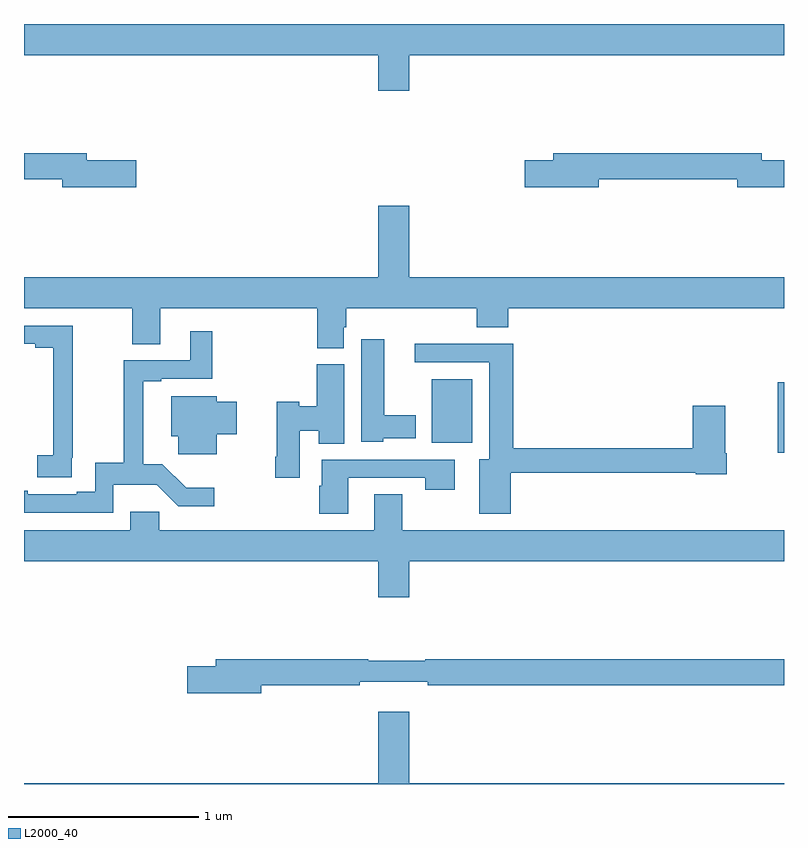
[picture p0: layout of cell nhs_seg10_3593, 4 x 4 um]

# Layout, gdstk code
import gdstk
lib = gdstk.Library(unit=1e-6, precision=1e-09)
def R(c, l, rs):  # rectangles x0, y0, x1, y1
    for r in rs: c.add(gdstk.rectangle(r[:2], r[2:], *l))
def P(c, l, *ps):  # polygons
    for p in ps: c.add(gdstk.Polygon(p, *l))
L2000_40 = (2000, 40)

nhs_seg10_3593 = lib.new_cell('nhs_seg10_3593')
R(nhs_seg10_3593, L2000_40, [(310.967,1278.243,311,1278.614), (309.146,1278.296,309.358,1278.631)])
P(nhs_seg10_3593, L2000_40, [(309.028,1280.336),(311,1280.336),(311,1280.5),(307,1280.5),(307,1280.336),(308.864,1280.336),(308.864,1280.148),(309.028,1280.148)],
  [(307.591,1279.784),(307.33,1279.784),(307.33,1279.82),(307,1279.82),(307,1279.684),(307.202,1279.684),(307.202,1279.642),(307.591,1279.642)],
  [(310.024,1279.684),(310.754,1279.684),(310.754,1279.642),(311,1279.642),(311,1279.784),(310.882,1279.784),(310.882,1279.82),(309.785,1279.82),(309.785,1279.784),(309.636,1279.784),(309.636,1279.642),(310.024,1279.642)],
  [(308.683,1278.903),(308.696,1278.903),(308.696,1279.004),(309.383,1279.004),(309.383,1278.905),(309.548,1278.905),(309.548,1279.004),(311,1279.004),(311,1279.168),(309.028,1279.168),(309.028,1279.543),(308.864,1279.543),(308.864,1279.168),(307,1279.168),(307,1279.004),(307.57,1279.004),(307.57,1278.814),(307.717,1278.814),(307.717,1279.004),(308.543,1279.004),(308.543,1278.793),(308.683,1278.793)],
  [(307.25,1278.217),(307.256,1278.217),(307.256,1278.912),(307,1278.912),(307,1278.816),(307.058,1278.816),(307.058,1278.796),(307.154,1278.796),(307.154,1278.513),(307.153,1278.513),(307.153,1278.23),(307.071,1278.23),(307.071,1278.115),(307.25,1278.115)],
  [(307.47,1278.074),(307.699,1278.074),(307.812,1277.961),(308.002,1277.961),(308.002,1278.058),(307.853,1278.058),(307.727,1278.184),(307.627,1278.184),(307.627,1278.621),(307.723,1278.621),(307.723,1278.633),(307.991,1278.633),(307.991,1278.883),(307.874,1278.883),(307.874,1278.729),(307.525,1278.729),(307.525,1278.191),(307.374,1278.191),(307.374,1278.038),(307.277,1278.038),(307.277,1278.024),(307.021,1278.024),(307.021,1278.044),(307,1278.044),(307,1277.928),(307.47,1277.928)],
  [(308.892,1278.32),(309.061,1278.32),(309.061,1278.442),(308.896,1278.442),(308.896,1278.841),(308.774,1278.841),(308.774,1278.302),(308.892,1278.302)],
  [(309.562,1278.138),(310.536,1278.138),(310.536,1278.13),(310.698,1278.13),(310.698,1278.241),(310.69,1278.241),(310.69,1278.49),(310.52,1278.49),(310.52,1278.266),(309.575,1278.266),(309.575,1278.818),(309.057,1278.818),(309.057,1278.72),(309.449,1278.72),(309.449,1278.208),(309.395,1278.208),(309.395,1277.922),(309.562,1277.922)],
  [(308.452,1278.359),(308.552,1278.359),(308.552,1278.292),(308.686,1278.292),(308.686,1278.708),(308.54,1278.708),(308.54,1278.489),(308.448,1278.489),(308.448,1278.512),(308.33,1278.512),(308.33,1278.223),(308.323,1278.223),(308.323,1278.111),(308.452,1278.111)],
  [(308.014,1278.341),(308.119,1278.341),(308.119,1278.512),(308.014,1278.512),(308.014,1278.541),(307.775,1278.541),(307.775,1278.329),(307.811,1278.329),(307.811,1278.236),(308.014,1278.236)],
  [(308.707,1278.111),(309.112,1278.111),(309.112,1278.048),(309.268,1278.048),(309.268,1278.207),(308.567,1278.207),(308.567,1278.069),(308.555,1278.069),(308.555,1277.922),(308.707,1277.922)],
  [(309.028,1277.672),(311,1277.672),(311,1277.836),(308.991,1277.836),(308.991,1278.026),(308.843,1278.026),(308.843,1277.836),(307.711,1277.836),(307.711,1277.934),(307.559,1277.934),(307.559,1277.836),(307,1277.836),(307,1277.672),(308.864,1277.672),(308.864,1277.484),(309.028,1277.484)],
  [(308.248,1277.02),(308.768,1277.02),(308.768,1277.039),(309.124,1277.039),(309.124,1277.02),(311,1277.02),(311,1277.156),(309.113,1277.156),(309.113,1277.149),(308.813,1277.149),(308.813,1277.156),(308.009,1277.156),(308.009,1277.12),(307.86,1277.12),(307.86,1276.978),(308.248,1276.978)],
  [(311,1276.504),(309.028,1276.504),(309.028,1276.879),(308.864,1276.879),(308.864,1276.504),(307,1276.504),(307,1276.5),(311,1276.5)])

lib.write_gds('nhs_seg10_3593.gds')
